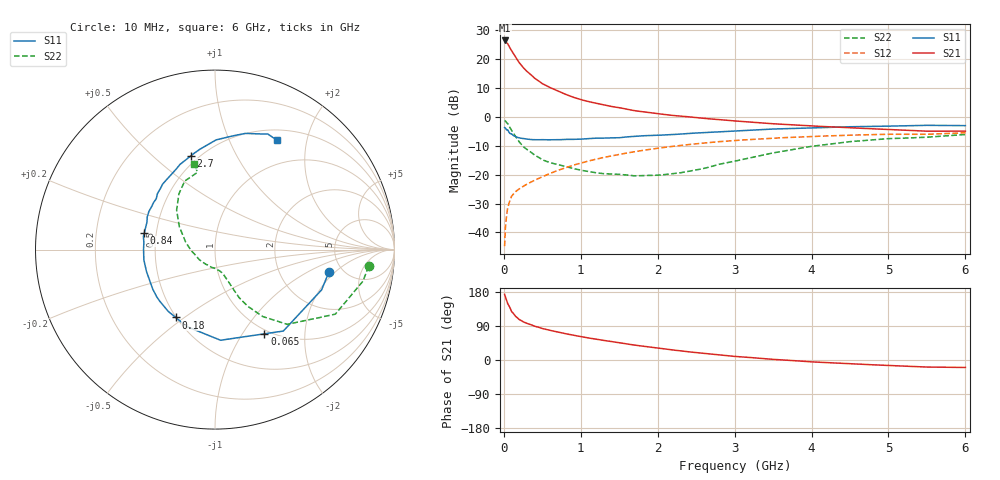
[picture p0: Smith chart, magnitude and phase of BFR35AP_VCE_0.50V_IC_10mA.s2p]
! Infineon Technologies  Discrete & RF Semiconductors
! BFR35AP
! VCE = 0.50 V,  IC =  10 mA
! Common Emitter S-Parameters:  Nov 2015
# GHz  S  MA  R  50
!  f  S11  S21  S12  S22
! GHz  MAG  ANG  MAG  ANG  MAG  ANG  MAG  ANG
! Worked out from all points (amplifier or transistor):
!   210 points, 10 MHz to 6 GHz, reference 50 ohm
!   highest |S21| = 26.3 dB at 10 MHz (marker M1)
!   |S21| within 3 dB of that: start of sweep to 88.63 MHz
!   unconditionally stable (mu >= 1): 284.4 MHz to end of sweep
!   at 185 MHz: K = 0.77, MSG = 22.2 dB, |S12| = -25.2 dB
!   at 1.52 GHz: K = 1.40, MAG = 4.2 dB, |S12| = -12.9 dB
!   at 6 GHz: K = 1.14, MAG = -2.0 dB, |S12| = -5.6 dB
!   S11 on the Smith chart (normalised r, x): 10 MHz: 3.92, -1.67; 65 MHz: 0.94, -1.26; 180 MHz: 0.50, -0.46; 840 MHz: 0.43, +0.09; 2.7 GHz: 0.45, +0.67; 6 GHz: 0.64, +1.52
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0.01  0.6472 -11.0  20.69 173.1  0.0058 81.6  0.8611 -6.2
0.02  0.6349 -20.7  20.18 166.4  0.0119 80.7  0.8426 -12.1
0.05  0.5923 -50.0  18.16 148.8  0.0266 67.2  0.7607 -28.2
0.065  0.5442 -59.6  16.66 143.8  0.0311 62.3  0.6999 -32.6
0.1  0.506 -86.5  13.86 128.2  0.0422 55.2  0.5789 -46.0
0.15  0.4567 -110.0  10.75 115.4  0.0503 50.9  0.458 -54.5
0.18  0.4368 -120.1  9.401 110.7  0.0541 50.3  0.4029 -57.4
0.2  0.4316 -127.2  8.546 106.8  0.0567 49.9  0.3668 -59.8
0.26  0.4178 -141.1  6.853 100.0  0.0636 50.3  0.2975 -63.4
0.3  0.4106 -147.7  6.055 96.4  0.0682 51.5  0.2703 -64.2
0.4  0.4008 -162.0  4.614 89.2  0.0797 53.5  0.2178 -66.1
0.5  0.4005 -171.7  3.717 83.1  0.0914 55.5  0.1801 -68.1
0.6  0.3986 -178.7  3.183 78.2  0.1045 56.5  0.1605 -69.5
0.84  0.4048 167.0  2.327 67.9  0.1362 57.0  0.1336 -73.5
1.02  0.4107 157.2  1.939 61.1  0.1606 56.3  0.1176 -79.8
1.4  0.4314 142.3  1.498 48.7  0.2101 52.7  0.1021 -96.2
2.02  0.4785 122.4  1.116 31.0  0.287 44.9  0.098 -136.7
2.7  0.5394 104.6  0.911 15.5  0.36 35.0  0.1381 178.6
3.1  0.574 96.5  0.825 8.1  0.395 28.8  0.1819 160.4
4.1  0.6445 80.4  0.681 -5.9  0.4601 14.5  0.3187 131.5
5.1  0.69 69.1  0.594 -15.3  0.4958 1.6  0.4211 111.5
6  0.7 60.4  0.562 -19.7  0.5262 -7.1  0.4916 103.8
